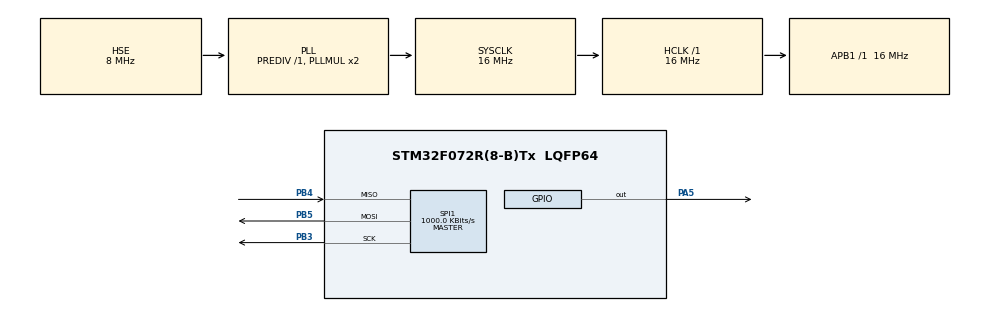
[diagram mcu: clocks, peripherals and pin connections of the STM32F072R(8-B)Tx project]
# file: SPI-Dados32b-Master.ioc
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Mcu.Family=STM32F0
Mcu.Name=STM32F072R(8-B)Tx
Mcu.Package=LQFP64
PA5.Signal=GPIO_Output
PB3.Mode=Full_Duplex_Master
PB3.Signal=SPI1_SCK
PB4.Mode=Full_Duplex_Master
PB4.Signal=SPI1_MISO
PB5.Mode=Full_Duplex_Master
PB5.Signal=SPI1_MOSI
PF0-OSC_IN.Mode=HSE-External-Oscillator
PF0-OSC_IN.Signal=RCC_OSC_IN
PF1-OSC_OUT.Mode=HSE-External-Oscillator
PF1-OSC_OUT.Signal=RCC_OSC_OUT
ProjectManager.HeapSize=0x200
ProjectManager.StackSize=0x400
ProjectManager.TargetToolchain=STM32CubeIDE
RCC.AHBFreq_Value=16000000
RCC.APB1Freq_Value=16000000
RCC.APB1TimFreq_Value=16000000
RCC.HCLKFreq_Value=16000000
RCC.PLLSourceVirtual=RCC_PLLSOURCE_HSE
RCC.SYSCLKFreq_VALUE=16000000
RCC.SYSCLKSource=RCC_SYSCLKSOURCE_PLLCLK
SPI1.BaudRatePrescaler=SPI_BAUDRATEPRESCALER_16
SPI1.CalculateBaudRate=1000.0 KBits/s
SPI1.DataSize=SPI_DATASIZE_16BIT
SPI1.Direction=SPI_DIRECTION_2LINES
SPI1.Mode=SPI_MODE_MASTER
SPI1.VirtualType=VM_MASTER
board=custom

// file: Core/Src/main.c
/* USER CODE BEGIN Header */
/**
  ******************************************************************************
  * @file           : main.c
  * @brief          : Main program body
  ******************************************************************************
  * @attention
  *
  * Copyright (c) 2024 STMicroelectronics.
  * All rights reserved.
  *
  * This software is licensed under terms that can be found in the LICENSE file
  * in the root directory of this software component.
  * If no LICENSE file comes with this software, it is provided AS-IS.
  *
  ******************************************************************************
  */
/* USER CODE END Header */
#include "main.h"

/* USER CODE BEGIN Includes */
#include "auxiliarSPI.h"
/* USER CODE END Includes */

SPI_HandleTypeDef hspi1;

/* USER CODE BEGIN PV */
HAL_StatusTypeDef statusM;
float testeFloat = 100.322;
uint32_t testeBinario;
uint16_t binarioCima, binarioBaixo;
uint16_t spiTxBuffer[2];

uint8_t tsat[2];
uint8_t rsat[2];

/* USER CODE END PV */

void SystemClock_Config(void);
static void MX_GPIO_Init(void);
static void MX_SPI1_Init(void);

int main(void)
{

  /* MCU Configuration--------------------------------------------------------*/

  /* Reset of all peripherals, Initializes the Flash interface and the Systick. */
  HAL_Init();

  /* Configure the system clock */
  SystemClock_Config();

  /* Initialize all configured peripherals */
  MX_GPIO_Init();
  MX_SPI1_Init();

  /* Infinite loop */
  /* USER CODE BEGIN WHILE */
  while (1)
  {
	 /*binarioCima = converterFloatBinarioHigh(testeFloat);
	 binarioBaixo = converterFloatBinarioLow(testeFloat);
	 spiTxBuffer[0] = binarioCima;
	 spiTxBuffer[1] = binarioBaixo; */

	 tsat[0] = 3;
	 tsat[1] = 100;

	 statusM = HAL_SPI_Transmit(&hspi1, tsat, sizeof(tsat), 1000);

	 	  // Checar se a transmissão foi bem-sucedida
	 	  if (statusM == HAL_OK) {

	 		  HAL_GPIO_TogglePin(GPIOA, GPIO_PIN_5);

	 	     // Sucesso: fazer algo (por exemplo, acender um LED)
	 	  } else {
	 		  HAL_GPIO_WritePin(GPIOA, GPIO_PIN_5, 0);
	 	     // Erro: tomar uma ação (por exemplo, piscar um LED de erro)
	 	  }

	 	  // Pequena espera entre transmissões
	 	  HAL_Delay(1000);  // Aguarda 1 segundo
    /* USER CODE END WHILE */

  }
}

void SystemClock_Config(void)
{
  RCC_OscInitTypeDef RCC_OscInitStruct = {0};
  RCC_ClkInitTypeDef RCC_ClkInitStruct = {0};

  /** Initializes the RCC Oscillators according to the specified parameters
  * in the RCC_OscInitTypeDef structure.
  */
  RCC_OscInitStruct.OscillatorType = RCC_OSCILLATORTYPE_HSE;
  RCC_OscInitStruct.HSEState = RCC_HSE_ON;
  RCC_OscInitStruct.PLL.PLLState = RCC_PLL_ON;
  RCC_OscInitStruct.PLL.PLLSource = RCC_PLLSOURCE_HSE;
  RCC_OscInitStruct.PLL.PLLMUL = RCC_PLL_MUL2;
  RCC_OscInitStruct.PLL.PREDIV = RCC_PREDIV_DIV1;
  if (HAL_RCC_OscConfig(&RCC_OscInitStruct) != HAL_OK)
  {
    Error_Handler();
  }

  /** Initializes the CPU, AHB and APB buses clocks
  */
  RCC_ClkInitStruct.ClockType = RCC_CLOCKTYPE_HCLK|RCC_CLOCKTYPE_SYSCLK
                              |RCC_CLOCKTYPE_PCLK1;
  RCC_ClkInitStruct.SYSCLKSource = RCC_SYSCLKSOURCE_PLLCLK;
  RCC_ClkInitStruct.AHBCLKDivider = RCC_SYSCLK_DIV1;
  RCC_ClkInitStruct.APB1CLKDivider = RCC_HCLK_DIV1;

  if (HAL_RCC_ClockConfig(&RCC_ClkInitStruct, FLASH_LATENCY_0) != HAL_OK)
  {
    Error_Handler();
  }
}

static void MX_SPI1_Init(void)
{

  /* SPI1 parameter configuration*/
  hspi1.Instance = SPI1;
  hspi1.Init.Mode = SPI_MODE_MASTER;
  hspi1.Init.Direction = SPI_DIRECTION_2LINES;
  hspi1.Init.DataSize = SPI_DATASIZE_16BIT;
  hspi1.Init.CLKPolarity = SPI_POLARITY_LOW;
  hspi1.Init.CLKPhase = SPI_PHASE_1EDGE;
  hspi1.Init.NSS = SPI_NSS_SOFT;
  hspi1.Init.BaudRatePrescaler = SPI_BAUDRATEPRESCALER_16;
  hspi1.Init.FirstBit = SPI_FIRSTBIT_MSB;
  hspi1.Init.TIMode = SPI_TIMODE_DISABLE;
  hspi1.Init.CRCCalculation = SPI_CRCCALCULATION_DISABLE;
  hspi1.Init.CRCPolynomial = 7;
  hspi1.Init.CRCLength = SPI_CRC_LENGTH_DATASIZE;
  hspi1.Init.NSSPMode = SPI_NSS_PULSE_ENABLE;
  if (HAL_SPI_Init(&hspi1) != HAL_OK)
  {
    Error_Handler();
  }

}

static void MX_GPIO_Init(void)
{

  /* GPIO Ports Clock Enable */
  __HAL_RCC_GPIOF_CLK_ENABLE();
  __HAL_RCC_GPIOB_CLK_ENABLE();

}

void Error_Handler(void)
{
  __disable_irq();
  while (1)
  {
  }
}
